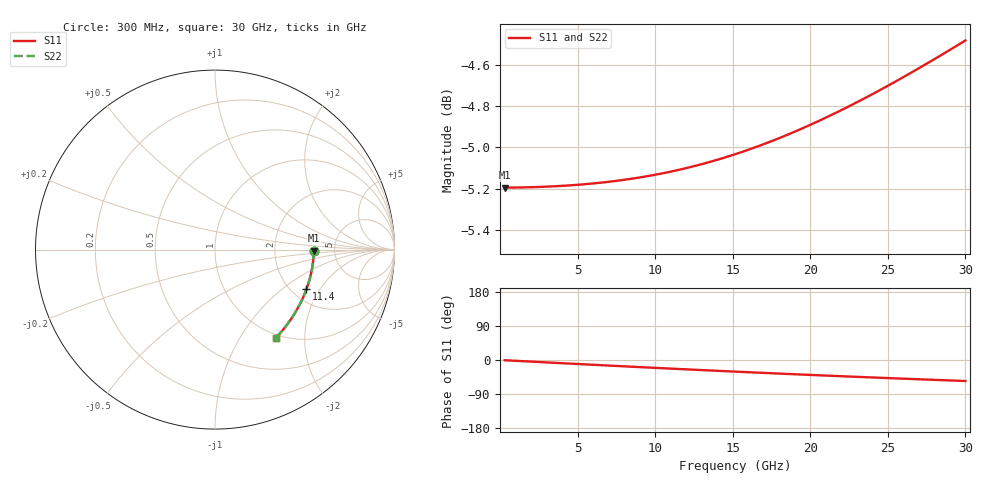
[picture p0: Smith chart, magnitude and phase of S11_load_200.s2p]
! Created Tue Apr 13 08:55:27 2021
# hz S ri R 50
! 2 Port Network Data from SP1.SP block
! freq  reS11  imS11  reS21  imS21  reS12  imS12  reS22  imS22
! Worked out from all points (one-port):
!   100 points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, 300 MHz to 30 GHz, reference 50 ohm
!   lowest |S11| = -5.2 dB at 300 MHz (marker M1), VSWR 3.44, Z = 172 - j3.01 ohm
!   |S11| at or under -10 dB: nowhere
!   S11 on the Smith chart (normalised r, x): 300 MHz: 3.44, -0.06; 11.4 GHz: 2.39, -1.53; 30 GHz: 0.95, -1.45
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3e8  0.5498 -0.0061  0 0  0 0  0.5498 -0.0061
1.5e9  0.549 -0.0305  0 0  0 0  0.549 -0.0305
2.7e9  0.5473 -0.0547  0 0  0 0  0.5473 -0.0547
3.9e9  0.5447 -0.0788  0 0  0 0  0.5447 -0.0788
5.4e9  0.54 -0.1085  0 0  0 0  0.54 -0.1085
6.6e9  0.5354 -0.1319  0 0  0 0  0.5354 -0.1319
7.8e9  0.5299 -0.1549  0 0  0 0  0.5299 -0.1549
9e9  0.5237 -0.1775  0 0  0 0  0.5237 -0.1775
1.02e10  0.5168 -0.1996  0 0  0 0  0.5168 -0.1996
1.14e10  0.5092 -0.2212  0 0  0 0  0.5092 -0.2212
1.35e10  0.4946 -0.2578  0 0  0 0  0.4946 -0.2578
1.53e10  0.4808 -0.2879  0 0  0 0  0.4808 -0.2879
1.65e10  0.4711 -0.3073  0 0  0 0  0.4711 -0.3073
1.77e10  0.4609 -0.3262  0 0  0 0  0.4609 -0.3262
1.89e10  0.4503 -0.3447  0 0  0 0  0.4503 -0.3447
2.01e10  0.4394 -0.3625  0 0  0 0  0.4394 -0.3625
2.13e10  0.4282 -0.3799  0 0  0 0  0.4282 -0.3799
2.25e10  0.4167 -0.3968  0 0  0 0  0.4167 -0.3968
2.37e10  0.4049 -0.4133  0 0  0 0  0.4049 -0.4133
2.52e10  0.3897 -0.4331  0 0  0 0  0.3897 -0.4331
2.76e10  0.3647 -0.4632  0 0  0 0  0.3647 -0.4632
3e10  0.3389 -0.4915  0 0  0 0  0.3389 -0.4915
